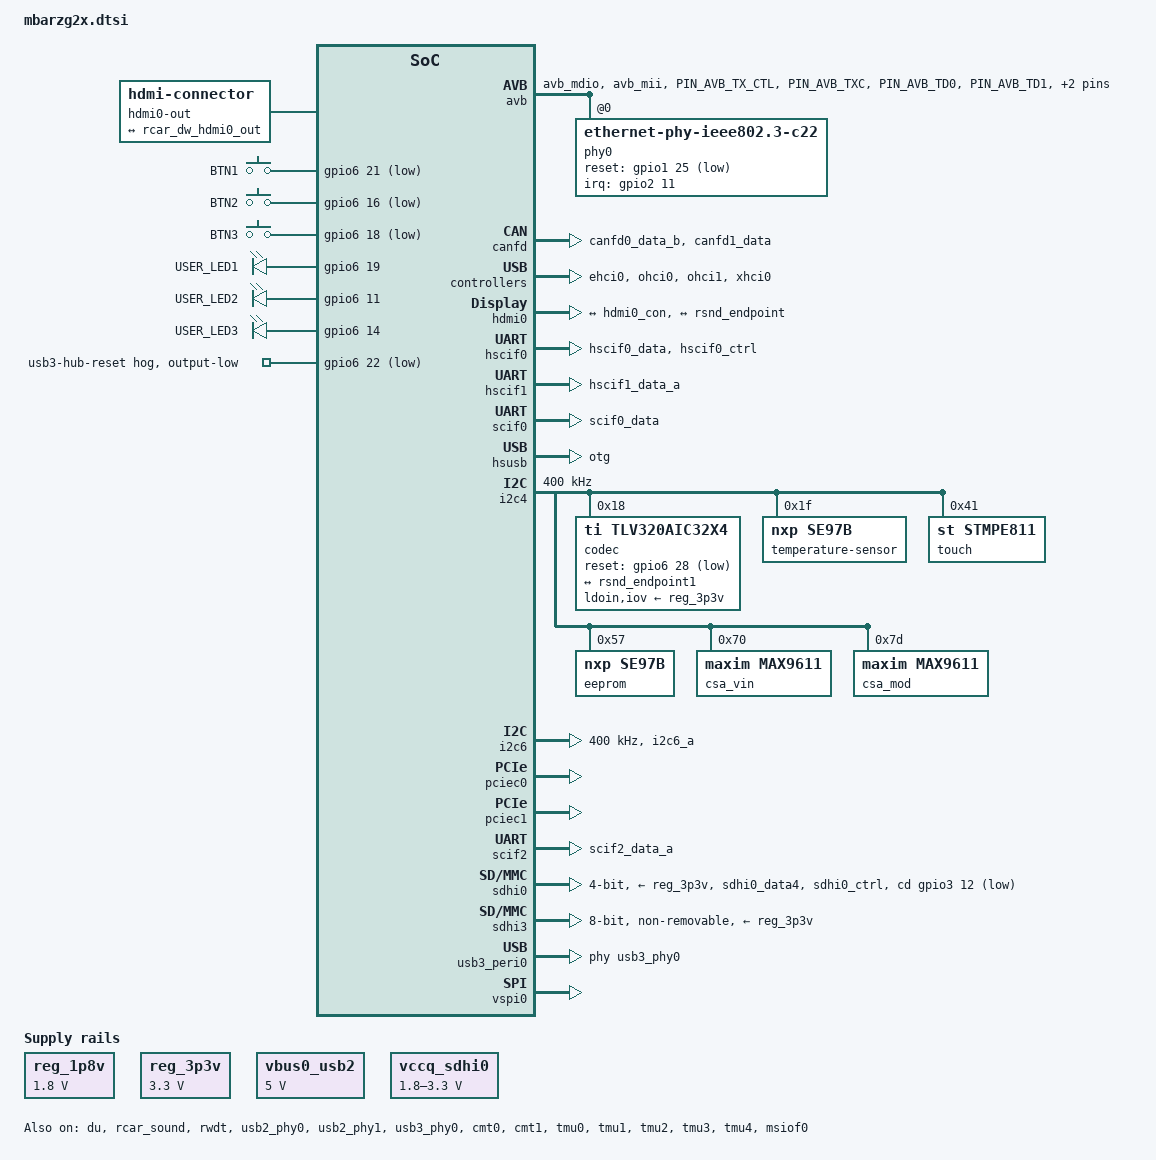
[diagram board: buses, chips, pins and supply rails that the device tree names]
// SPDX-License-Identifier: GPL-2.0-or-later OR MIT
/*
 * Copyright (c) 2021-2023 TQ-Systems GmbH <linux@ew.tq-group.com>, D-82229 Seefeld, Germany.
 * Author: Andreas Dumberger, Paul Gerber
 *
 */

#include <dt-bindings/net/ti-dp83867.h>
#include <dt-bindings/gpio/gpio.h>
#include <dt-bindings/input/input.h>

/ {
	aliases {
		ethernet0 = &avb;
		mmc0 = &sdhi0;
		mmc1 = &sdhi3;
		serial0 = &scif2;
		serial1 = &hscif0;
		serial2 = &hscif1;
		serial3 = &scif0;
		spi0 = &msiof0;
		spi1 = &msiof1;
		spi2 = &msiof2;
		spi3 = &msiof3;
	};

	chosen {
		bootargs = "ignore_loglevel";
		stdout-path = "serial0:115200n8";
	};

	hdmi0-out {
		compatible = "hdmi-connector";
		type = "a";

		port {
			hdmi0_con: endpoint {
				remote-endpoint = <&rcar_dw_hdmi0_out>;
			};
		};
	};

	keys {
		compatible = "gpio-keys";

		key-1 {
			label = "BTN1";
			linux,code = <BTN_1>;
			gpios = <&gpio6 21 GPIO_ACTIVE_LOW>;
		};

		key-2 {
			label = "BTN2";
			linux,code = <BTN_2>;
			gpios = <&gpio6 16 GPIO_ACTIVE_LOW>;
		};

		key-3 {
			label = "BTN3";
			linux,code = <BTN_3>;
			gpios = <&gpio6 18 GPIO_ACTIVE_LOW>;
		};
	};

	leds {
		compatible = "gpio-leds";

		user_led_1 {
			label = "USER_LED1";
			gpios = <&gpio6 19 GPIO_ACTIVE_HIGH>;
		};

		user_led_2 {
			label = "USER_LED2";
			gpios = <&gpio6 11 GPIO_ACTIVE_HIGH>;
		};

		user_led_3 {
			label = "USER_LED3";
			gpios = <&gpio6 14 GPIO_ACTIVE_HIGH>;
		};
	};

	reg_1p8v: regulator0 {
		compatible = "regulator-fixed";
		regulator-name = "fixed-1.8V";
		regulator-min-microvolt = <1800000>;
		regulator-max-microvolt = <1800000>;
		regulator-boot-on;
		regulator-always-on;
	};

	reg_3p3v: regulator1 {
		compatible = "regulator-fixed";
		regulator-name = "fixed-3.3V";
		regulator-min-microvolt = <3300000>;
		regulator-max-microvolt = <3300000>;
		regulator-boot-on;
		regulator-always-on;
	};

	sound_card: sound {
		compatible = "audio-graph-card";

		label = "rcar-sound";

		dais = <&rsnd_port0	/* HDMI Audio */
			&rsnd_port1>;	/* External TLV320AIC32 Codec */
	};

	vbus0_usb2: regulator_vbus_usb2 {
		compatible = "regulator-fixed";

		regulator-name = "USB20_VBUS0";
		regulator-min-microvolt = <5000000>;
		regulator-max-microvolt = <5000000>;
	};

	vccq_sdhi0: regulator-vccq-sdhi0 {
		compatible = "regulator-gpio";

		regulator-name = "SDHI0 VccQ";
		regulator-min-microvolt = <1800000>;
		regulator-max-microvolt = <3300000>;

		gpios = <&gpio6 7 GPIO_ACTIVE_HIGH>;
		gpios-states = <1>;
		states = <3300000 0
			  1800000 1>;
	};

	du_dotclk_in0: du-dotclock-in0 {
		compatible = "fixed-clock";
		#clock-cells = <0>;
		clock-frequency = <33000000>;
	};

	du_dotclk_in1: du-dotclock-in1 {
		compatible = "fixed-clock";
		#clock-cells = <0>;
		clock-frequency = <33000000>;
	};

	du_dotclk_in2: du-dotclock-in2 {
		compatible = "fixed-clock";
		#clock-cells = <0>;
		clock-frequency = <33000000>;
	};

	vspm_if {
		compatible = "renesas,vspm_if";
	};
};

&audio_clk_b {
	clock-frequency = <12288000>;
};

&audio_clk_c {
	clock-frequency = <24576000>;
};

&avb {
	pinctrl-0 = <&avb_pins>;
	pinctrl-names = "default";
	renesas,no-ether-link;
	phy-handle = <&phy0>;
	phy-mode = "rgmii-id";
	status = "okay";

	phy0: ethernet-phy@0 {
		compatible = "ethernet-phy-ieee802.3-c22";
		reg = <0>;

		reset-gpios = <&gpio1 25 GPIO_ACTIVE_LOW>;
		reset-assert-us = <500000>;
		reset-deassert-us = <50000>;
		interrupt-parent = <&gpio2>;
		interrupts = <11 IRQ_TYPE_LEVEL_LOW>;

		ti,rx-internal-delay = <DP83867_RGMIIDCTL_1_NS>;
		ti,tx-internal-delay = <DP83867_RGMIIDCTL_1_NS>;
		ti,fifo-depth = <DP83867_PHYCR_FIFO_DEPTH_4_B_NIB>;
		ti,dp83867-rxctrl-strap-quirk;
		ti,clk-output-sel = <DP83867_CLK_O_SEL_OFF>;
		ti,min-output-impedance;
		/* LED0: Link, LED2: activity */
		ti,led-function = <0x0100>;
		/* LED0/2: active Low, driven by phy function */
		ti,led-ctrl = <0x0000>;
		enet-phy-lane-no-swap;
	};
};

&canfd {
	pinctrl-0 = <&canfd_pins>;
	pinctrl-names = "default";
	status = "okay";

	channel0 {
		status = "okay";
	};

	channel1 {
		status = "okay";
	};
};

&du {
	status = "okay";
};

&ehci0 {
	status = "okay";
};

&extal_clk {
	clock-frequency = <25000000>;
};

&extalr_clk {
	clock-frequency = <32768>;
};

&gpio6 {
	usb3-hub-reset {
		gpio-hog;
		gpios = <22 GPIO_ACTIVE_LOW>;
		output-low;
		line-name = "usb3-hub-reset";
	};
};

&hdmi0 {
	status = "okay";

	ports {
		port@1 {
			reg = <1>;
			rcar_dw_hdmi0_out: endpoint {
				remote-endpoint = <&hdmi0_con>;
			};
		};
		port@2 {
			reg = <2>;
			dw_hdmi0_snd_in: endpoint {
				remote-endpoint = <&rsnd_endpoint>;
			};
		};
	};
};

&hscif0 {
	pinctrl-0 = <&hscif0_pins>;
	pinctrl-names = "default";

	uart-has-rtscts;
	status = "okay";
};

&hscif1 {
	pinctrl-0 = <&hscif1_pins>;
	pinctrl-names = "default";

	uart-has-rtscts;
	status = "okay";
};

&scif0 {
	pinctrl-0 = <&scif0_pins>;
	pinctrl-names = "default";

	status = "okay";
};

&hsusb {
	dr_mode = "otg";
	status = "okay";
};

&i2c4 {
	clock-frequency = <400000>;
	status = "okay";

	codec: audio-codec@18 {
		compatible = "ti,tlv320aic32x4";
		reg = <0x18>;
		reset-gpios = <&gpio6 28 GPIO_ACTIVE_LOW>;
		clocks = <&rcar_sound 3>;
		clock-names = "mclk";
		ldoin-supply = <&reg_3p3v>;
		iov-supply = <&reg_3p3v>;

		port {
			tlv320_endpoint: endpoint {
				remote-endpoint = <&rsnd_endpoint1>;
			};
		};
	};

	/* SE97B temp sensor */
	temperature-sensor@1f {
		compatible = "nxp,se97b", "jedec,jc-42.4-temp";
		reg = <0x1f>;
	};

	/* STMPE touchscreen controller */
	touch: touch@41 {
		compatible = "st,stmpe811";
		reg = <0x41>;
		wakeup-source;
		st,autosleep-timeout = <1024>;

		stmpe_touchscreen {
			compatible = "st,stmpe-ts";
			st,sample-time = <4>;
			st,mod-12b = <1>;
			st,ref-sel = <0>;
			st,adc-freq = <1>;
			st,ave-ctrl = <1>;
			st,touch-det-delay = <2>;
			st,settling = <2>;
			st,fraction-z = <7>;
			st,i-drive = <1>;
		};
	};

	/* config eeprom SE97B */
	eeprom@57 {
		compatible = "nxp,se97b", "atmel,24c02";
		reg = <0x57>;
		pagesize = <16>;
	};

	csa_vin: adc@70 {
		compatible = "maxim,max9611";
		reg = <0x70>;

		shunt-resistor-micro-ohms = <3000>;
	};

	csa_mod: adc@7d {
		compatible = "maxim,max9611";
		reg = <0x7d>;

		shunt-resistor-micro-ohms = <3000>;
	};

};

&i2c6 {
	pinctrl-0 = <&i2c6_pins>;
	pinctrl-names = "default";

	clock-frequency = <400000>;
	status = "okay";
};

&ohci0 {
	status = "okay";
};

&ohci1 {
	status = "okay";
};

&pcie_bus_clk {
	clock-frequency = <100000000>;
};

&pciec0 {
	status = "okay";
	deemph = <1>;
};

&pciec1 {
	status = "okay";
};

&pfc {
	avb_pins: avb {
		mux {
			groups = "avb_mdio", "avb_mii";
			function = "avb";
		};

		pins_mdio {
			groups = "avb_mdio";
			drive-strength = <24>;
		};

		pins_mii_tx {
			pins = "PIN_AVB_TX_CTL", "PIN_AVB_TXC", "PIN_AVB_TD0",
			       "PIN_AVB_TD1", "PIN_AVB_TD2", "PIN_AVB_TD3";
			drive-strength = <12>;
		};
	};

	canfd_pins: canfd {
		channel0 {
			groups = "canfd0_data_b";
			function = "canfd0";
		};
		channel1 {
			groups = "canfd1_data";
			function = "canfd1";
		};
	};

	scif0_pins: scif0 {
		groups = "scif0_data";
		function = "scif0";
	};

	scif2_pins: scif2 {
		groups = "scif2_data_a";
		function = "scif2";
	};

	hscif0_pins: hscif0 {
		groups = "hscif0_data", "hscif0_ctrl";
		function = "hscif0";
	};

	hscif1_pins: hscif1 {
		groups = "hscif1_data_a";
		function = "hscif1";
	};

	sdhi0_pins: sd0 {
		groups = "sdhi0_data4", "sdhi0_ctrl";
		function = "sdhi0";
		power-source = <3300>;
	};

	sdhi0_pins_uhs: sd0_uhs {
		mux {
			groups = "sdhi0_data4", "sdhi0_ctrl";
			function = "sdhi0";
			power-source = <1800>;
		};

		pins_sdhi0_ctrl_cmd {
			pins = "GP_3_1";
			drive-strength = <9>;
		};

		pins_sdhi0_ctrl_clk {
			pins = "GP_3_0";
			drive-strength = <15>;
		};

		pins_sdhi0_data4 {
			groups = "sdhi0_data4";
			drive-strength = <9>;
		};
	};

	sound_pins: sound {
		groups = "ssi01239_ctrl", "ssi0_data", "ssi1_data_a";
		function = "ssi";
	};

	sound_clk_pins: sound_clk {
		groups = "audio_clk_b_a", "audio_clk_c_b", "audio_clkout3_a";
		function = "audio_clk";
	};

	usb0_pins: usb0 {
		groups = "usb0";
		function = "usb0";
	};

	/* USB2 ch1 and USB3 do not use PWEN and OVC pins, so no muxing here... */

	i2c6_pins: i2c6 {
		groups = "i2c6_a";
		function = "i2c6";
	};

	msiof0_pins: spi0 {
		groups = "msiof0_clk", "msiof0_sync",
		"msiof0_rxd", "msiof0_txd";
		function = "msiof0";
	};
};

&rcar_sound {
	pinctrl-0 = <&sound_pins &sound_clk_pins>;
	pinctrl-names = "default";

	status = "okay";

	/* Single DAI */
	#sound-dai-cells = <0>;

	/* audio_clkout0/1/2/3 */
	#clock-cells = <1>;
	clock-frequency = <12288000>;

	ports {
		#address-cells = <1>;
		#size-cells = <0>;

		rsnd_port0: port@0 {
			reg = <0>;

			rsnd_endpoint: endpoint {
				remote-endpoint = <&dw_hdmi0_snd_in>;

				dai-format = "i2s";
				bitclock-master = <&rsnd_endpoint>;
				frame-master = <&rsnd_endpoint>;

				playback = <&ssi2>;
			};
		};

		rsnd_port1: port@1 {
			reg = <1>;

			rsnd_endpoint1: endpoint {
				remote-endpoint = <&tlv320_endpoint>;

				dai-format = "i2s";
				bitclock-master = <&rsnd_endpoint1>;
				frame-master = <&rsnd_endpoint1>;

				playback = <&ssi0 &src0 &dvc0>;
				capture  = <&ssi1>;
			};
		};
	};
};

&ssi1 {
	shared-pin;
};

&rwdt {
	timeout-sec = <60>;
	status = "okay";
};

&scif2 {
	pinctrl-0 = <&scif2_pins>;
	pinctrl-names = "default";

	status = "okay";
};

&scif_clk {
	clock-frequency = <0>;
};

&sdhi0 {
	pinctrl-0 = <&sdhi0_pins>;
	pinctrl-1 = <&sdhi0_pins_uhs>;
	pinctrl-names = "default", "state_uhs";

	vmmc-supply = <&reg_3p3v>;
	vqmmc-supply = <&vccq_sdhi0>;
	cd-gpios = <&gpio3 12 GPIO_ACTIVE_LOW>;
	bus-width = <4>;
	no-mmc;
	status = "okay";
};

&sdhi3 {
	pinctrl-0 = <&sdhi3_pins>;
	pinctrl-1 = <&sdhi3_pins>;
	pinctrl-names = "default", "state_uhs";

	vmmc-supply = <&reg_3p3v>;
	vqmmc-supply = <&reg_1p8v>;
	bus-width = <8>;
	mmc-hs200-1_8v;
	mmc-hs400-1_8v;
	non-removable;
	fixed-emmc-driver-type = <1>;
	no-sd;
	status = "okay";
};

&usb_extal_clk {
	clock-frequency = <50000000>;
};

&usb2_phy0 {
	pinctrl-0 = <&usb0_pins>;
	pinctrl-names = "default";

	vbus-supply = <&vbus0_usb2>;
	status = "okay";
};

&usb2_phy1 {
	status = "okay";
};

&usb3_peri0 {
	phys = <&usb3_phy0>;
	phy-names = "usb";

	companion = <&xhci0>;

	status = "okay";
};

&usb3_phy0 {
	status = "okay";
};

&usb3s0_clk {
	clock-frequency = <100000000>;
};

&xhci0 {
	status = "okay";
};

&vspi0 {
	status = "okay";
};

&cmt0 {
	status = "okay";
};

&cmt1 {
	status = "okay";
};

&tmu0 {
	status = "okay";
};

&tmu1 {
	status = "okay";
};

&tmu2 {
	status = "okay";
};

&tmu3 {
	status = "okay";
};

&tmu4 {
	status = "okay";
};

&msiof0 {
	pinctrl-0 = <&msiof0_pins>;
	pinctrl-names = "default";

	status = "okay";
};
